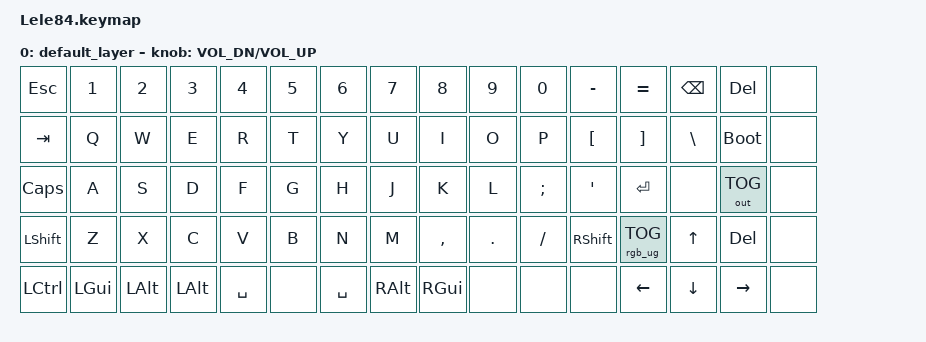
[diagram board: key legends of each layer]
#include <behaviors.dtsi>
#include <dt-bindings/zmk/keys.h>
#include <dt-bindings/zmk/bt.h>
#include <dt-bindings/zmk/outputs.h>
#include <dt-bindings/zmk/rgb.h>
#include <dt-bindings/zmk/ext_power.h>

/ {
    keymap {
        compatible = "zmk,keymap";
        default_layer {
        
bindings = <
&kp ESC   &kp N1   &kp N2   &kp N3   &kp N4    &kp N5  &kp N6    &kp N7     &kp N8    &kp N9    &kp N0   &kp MINUS  &kp EQUAL       &kp BSPC       &kp DELETE          &none
&kp TAB   &kp Q    &kp W    &kp E    &kp R     &kp T   &kp Y     &kp U      &kp I     &kp  O    &kp P    &kp LBKT   &kp RBKT        &kp BSLH       &bootloader         &none                        
&kp CLCK  &kp A    &kp S    &kp D    &kp F     &kp G   &kp H     &kp J      &kp K     &kp  L    &kp SEMI &kp SQT    &kp RET         &none          &out OUT_TOG        &none                        
&kp LSHFT &kp Z    &kp X    &kp C    &kp V     &kp B   &kp N     &kp M      &kp COMMA &kp DOT   &kp FSLH &kp RSHFT  &rgb_ug RGB_TOG &kp UP_ARROW   &kp DELETE          &none                   
&kp LCTRL &kp LGUI &kp LALT &kp LALT &kp SPACE &none   &kp SPACE &kp  RALT  &kp RGUI  &none     &none    &none      &kp LEFT_ARROW  &kp DOWN_ARROW &kp RIGHT_ARROW     &none
>;
sensor-bindings = <&inc_dec_kp C_VOL_DN C_VOL_UP>;
        };

    };
};
